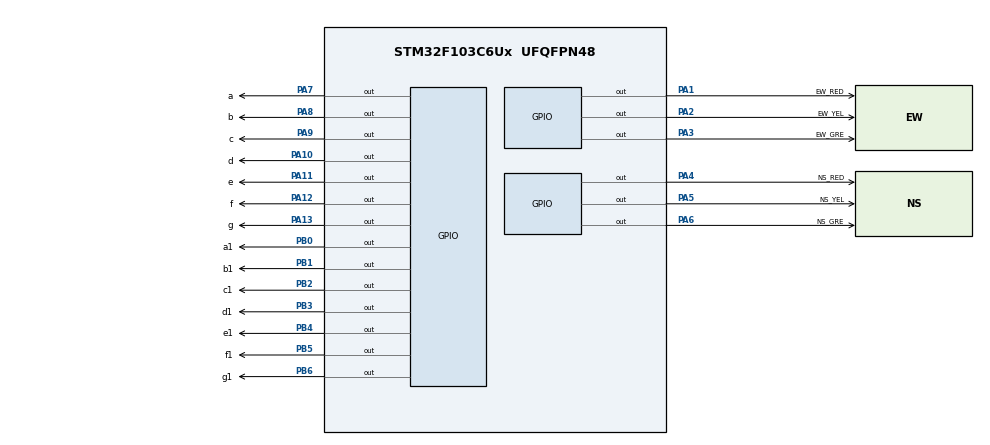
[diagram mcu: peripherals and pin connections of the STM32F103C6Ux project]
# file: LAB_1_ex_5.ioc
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Mcu.Family=STM32F1
Mcu.Name=STM32F103C6Ux
Mcu.Package=UFQFPN48
NVIC.PriorityGroup=NVIC_PRIORITYGROUP_4
PA1.GPIO_Label=EW_RED
PA1.Signal=GPIO_Output
PA10.GPIO_Label=d
PA10.Signal=GPIO_Output
PA11.GPIO_Label=e
PA11.Signal=GPIO_Output
PA12.GPIO_Label=f
PA12.Signal=GPIO_Output
PA13.GPIO_Label=g
PA13.Signal=GPIO_Output
PA2.GPIO_Label=EW_YEL
PA2.Signal=GPIO_Output
PA3.GPIO_Label=EW_GRE
PA3.Signal=GPIO_Output
PA4.GPIO_Label=NS_RED
PA4.Signal=GPIO_Output
PA5.GPIO_Label=NS_YEL
PA5.Signal=GPIO_Output
PA6.GPIO_Label=NS_GRE
PA6.Signal=GPIO_Output
PA7.GPIO_Label=a
PA7.Signal=GPIO_Output
PA8.GPIO_Label=b
PA8.Signal=GPIO_Output
PA9.GPIO_Label=c
PA9.Signal=GPIO_Output
PB0.GPIO_Label=a1
PB0.Signal=GPIO_Output
PB1.GPIO_Label=b1
PB1.Signal=GPIO_Output
PB2.GPIO_Label=c1
PB2.Signal=GPIO_Output
PB3.GPIO_Label=d1
PB3.Signal=GPIO_Output
PB4.GPIO_Label=e1
PB4.Signal=GPIO_Output
PB5.GPIO_Label=f1
PB5.Signal=GPIO_Output
PB6.GPIO_Label=g1
PB6.Signal=GPIO_Output
ProjectManager.HeapSize=0x200
ProjectManager.StackSize=0x400
ProjectManager.TargetToolchain=STM32CubeIDE
RCC.APB1Freq_Value=8000000
RCC.APB2Freq_Value=8000000
VP_SYS_VS_ND.Mode=No_Debug
board=custom

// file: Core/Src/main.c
/* USER CODE BEGIN Header */
/**
  ******************************************************************************
  * @file           : main.c
  * @brief          : Main program body
  ******************************************************************************
  * @attention
  *
  * <h2><center>&copy; Copyright (c) 2026 STMicroelectronics.
  * All rights reserved.</center></h2>
  *
  * This software component is licensed by ST under BSD 3-Clause license,
  * the "License"; You may not use this file except in compliance with the
  * License. You may obtain a copy of the License at:
  *                        opensource.org/licenses/BSD-3-Clause
  *
  ******************************************************************************
  */
/* USER CODE END Header */
#include "main.h"

/* USER CODE BEGIN PTD */
typedef enum  {
	EW_RED_NS_GREEN, EW_RED_NS_YELLOW, EW_GREEN_NS_RED, EW_YELLOW_NS_RED
} STATE_FSM;
/* USER CODE END PTD */

/* USER CODE BEGIN PD */
#define RED_TIME_MS      5
#define YELLOW_TIME_MS   2
#define GREEN_TIME_MS    3
/* USER CODE END PD */

/* USER CODE BEGIN PV */
STATE_FSM current_state;
int counter_timer;
/* USER CODE END PV */

void SystemClock_Config(void);
static void MX_GPIO_Init(void);
/* USER CODE BEGIN PFP */
void control_led(STATE_FSM state);
void display7SEG(int num);
void display7SEG_1(int num);
/* USER CODE END PFP */

int main(void)
{

  /* MCU Configuration--------------------------------------------------------*/

  /* Reset of all peripherals, Initializes the Flash interface and the Systick. */
  HAL_Init();

  /* Configure the system clock */
  SystemClock_Config();

  /* Initialize all configured peripherals */
  MX_GPIO_Init();
  /* USER CODE BEGIN 2 */
  current_state = EW_RED_NS_GREEN;
  counter_timer = GREEN_TIME_MS;

  /* USER CODE END 2 */

  /* Infinite loop */
  /* USER CODE BEGIN WHILE */
  while (1)
  {
	  switch (current_state) {
	      case EW_RED_NS_GREEN:
	    	  display7SEG ( counter_timer);
	    	  display7SEG_1 ( RED_TIME_MS - (GREEN_TIME_MS - counter_timer));
	          counter_timer--;

	          control_led(current_state);
	          if (counter_timer == 0) {
	        	  counter_timer = YELLOW_TIME_MS;
	        	  current_state = EW_RED_NS_YELLOW;
	          }
	          break;
	      case EW_RED_NS_YELLOW:
	    	  display7SEG ( counter_timer);
	    	  display7SEG_1 (RED_TIME_MS - (YELLOW_TIME_MS + GREEN_TIME_MS - counter_timer) );
	    	  	  	  counter_timer--;

	    	  	          control_led(current_state);
	    	  	          if (counter_timer == 0) {
	    	  	        	  counter_timer = GREEN_TIME_MS;
	    	  	        	  current_state = EW_GREEN_NS_RED;
	    	  	          }
	          break;
	      case EW_GREEN_NS_RED:
	    	  display7SEG ( RED_TIME_MS - (GREEN_TIME_MS - counter_timer));
	    	  display7SEG_1 ( counter_timer);
	      	          counter_timer--;

	      	          control_led(current_state);
	      	          if (counter_timer == 0) {
	      	        	  counter_timer = YELLOW_TIME_MS;
	      	        	  current_state = EW_YELLOW_NS_RED;
	      	          }
	      	    break;
	      case EW_YELLOW_NS_RED:
	    	  display7SEG_1 ( counter_timer);
	    	  display7SEG (RED_TIME_MS - (YELLOW_TIME_MS + GREEN_TIME_MS - counter_timer) );
	      	          counter_timer--;

	      	          control_led(current_state);
	      	          if (counter_timer == 0) {
	      	        	  counter_timer = GREEN_TIME_MS;
	      	        	  current_state = EW_RED_NS_GREEN;
	      	          }
	      	     break;
	      default:
	    	  display7SEG (counter_timer);
	    	  	    	  display7SEG_1 ( RED_TIME_MS - (GREEN_TIME_MS - counter_timer));
	    	  counter_timer--;

	    	  	          control_led(current_state);

	    	  	          if (counter_timer == 0) {
	    	  	        	  counter_timer = YELLOW_TIME_MS;
	    	  	        	  current_state = EW_RED_NS_YELLOW;
	    	  	          }

	  }

	  HAL_Delay (1000);
    /* USER CODE END WHILE */

  }
}

void SystemClock_Config(void)
{
  RCC_OscInitTypeDef RCC_OscInitStruct = {0};
  RCC_ClkInitTypeDef RCC_ClkInitStruct = {0};

  /** Initializes the RCC Oscillators according to the specified parameters
  * in the RCC_OscInitTypeDef structure.
  */
  RCC_OscInitStruct.OscillatorType = RCC_OSCILLATORTYPE_HSI;
  RCC_OscInitStruct.HSIState = RCC_HSI_ON;
  RCC_OscInitStruct.HSICalibrationValue = RCC_HSICALIBRATION_DEFAULT;
  RCC_OscInitStruct.PLL.PLLState = RCC_PLL_NONE;
  if (HAL_RCC_OscConfig(&RCC_OscInitStruct) != HAL_OK)
  {
    Error_Handler();
  }
  /** Initializes the CPU, AHB and APB buses clocks
  */
  RCC_ClkInitStruct.ClockType = RCC_CLOCKTYPE_HCLK|RCC_CLOCKTYPE_SYSCLK
                              |RCC_CLOCKTYPE_PCLK1|RCC_CLOCKTYPE_PCLK2;
  RCC_ClkInitStruct.SYSCLKSource = RCC_SYSCLKSOURCE_HSI;
  RCC_ClkInitStruct.AHBCLKDivider = RCC_SYSCLK_DIV1;
  RCC_ClkInitStruct.APB1CLKDivider = RCC_HCLK_DIV1;
  RCC_ClkInitStruct.APB2CLKDivider = RCC_HCLK_DIV1;

  if (HAL_RCC_ClockConfig(&RCC_ClkInitStruct, FLASH_LATENCY_0) != HAL_OK)
  {
    Error_Handler();
  }
}

static void MX_GPIO_Init(void)
{
  GPIO_InitTypeDef GPIO_InitStruct = {0};

  /* GPIO Ports Clock Enable */
  __HAL_RCC_GPIOA_CLK_ENABLE();
  __HAL_RCC_GPIOB_CLK_ENABLE();

  /*Configure GPIO pin Output Level */
  HAL_GPIO_WritePin(GPIOA, EW_RED_Pin|EW_YEL_Pin|EW_GRE_Pin|NS_RED_Pin
                          |NS_YEL_Pin|NS_GRE_Pin|a_Pin|b_Pin
                          |c_Pin|d_Pin|e_Pin|f_Pin
                          |g_Pin, GPIO_PIN_RESET);

  /*Configure GPIO pin Output Level */
  HAL_GPIO_WritePin(GPIOB, a1_Pin|b1_Pin|c1_Pin|d1_Pin
                          |e1_Pin|f1_Pin|g1_Pin, GPIO_PIN_RESET);

  /*Configure GPIO pins : EW_RED_Pin EW_YEL_Pin EW_GRE_Pin NS_RED_Pin
                           NS_YEL_Pin NS_GRE_Pin a_Pin b_Pin
                           c_Pin d_Pin e_Pin f_Pin
                           g_Pin */
  GPIO_InitStruct.Pin = EW_RED_Pin|EW_YEL_Pin|EW_GRE_Pin|NS_RED_Pin
                          |NS_YEL_Pin|NS_GRE_Pin|a_Pin|b_Pin
                          |c_Pin|d_Pin|e_Pin|f_Pin
                          |g_Pin;
  GPIO_InitStruct.Mode = GPIO_MODE_OUTPUT_PP;
  GPIO_InitStruct.Pull = GPIO_NOPULL;
  GPIO_InitStruct.Speed = GPIO_SPEED_FREQ_LOW;
  HAL_GPIO_Init(GPIOA, &GPIO_InitStruct);

  /*Configure GPIO pins : a1_Pin b1_Pin c1_Pin d1_Pin
                           e1_Pin f1_Pin g1_Pin */
  GPIO_InitStruct.Pin = a1_Pin|b1_Pin|c1_Pin|d1_Pin
                          |e1_Pin|f1_Pin|g1_Pin;
  GPIO_InitStruct.Mode = GPIO_MODE_OUTPUT_PP;
  GPIO_InitStruct.Pull = GPIO_NOPULL;
  GPIO_InitStruct.Speed = GPIO_SPEED_FREQ_LOW;
  HAL_GPIO_Init(GPIOB, &GPIO_InitStruct);

}

/* USER CODE BEGIN 4 */
/* USER CODE BEGIN 4 */
void control_led(STATE_FSM state)
{
    switch (state)
    {
        case EW_RED_NS_GREEN:
            HAL_GPIO_WritePin(GPIOA, EW_RED_Pin, GPIO_PIN_SET);
            HAL_GPIO_WritePin(GPIOA, EW_YEL_Pin | EW_GRE_Pin, GPIO_PIN_RESET);
            HAL_GPIO_WritePin(GPIOA, NS_GRE_Pin, GPIO_PIN_SET);
            HAL_GPIO_WritePin(GPIOA, NS_RED_Pin | NS_YEL_Pin, GPIO_PIN_RESET);
            break;

        case EW_RED_NS_YELLOW:
            HAL_GPIO_WritePin(GPIOA, EW_RED_Pin, GPIO_PIN_SET);
            HAL_GPIO_WritePin(GPIOA, EW_YEL_Pin | EW_GRE_Pin, GPIO_PIN_RESET);

            HAL_GPIO_WritePin(GPIOA, NS_YEL_Pin, GPIO_PIN_SET);
            HAL_GPIO_WritePin(GPIOA, NS_RED_Pin | NS_GRE_Pin, GPIO_PIN_RESET);
            break;

        case EW_GREEN_NS_RED:
            HAL_GPIO_WritePin(GPIOA, EW_GRE_Pin, GPIO_PIN_SET);
            HAL_GPIO_WritePin(GPIOA, EW_RED_Pin | EW_YEL_Pin, GPIO_PIN_RESET);

            HAL_GPIO_WritePin(GPIOA, NS_RED_Pin, GPIO_PIN_SET);
            HAL_GPIO_WritePin(GPIOA, NS_YEL_Pin | NS_GRE_Pin, GPIO_PIN_RESET);
            break;

        case EW_YELLOW_NS_RED:
            HAL_GPIO_WritePin(GPIOA, EW_YEL_Pin, GPIO_PIN_SET);
            HAL_GPIO_WritePin(GPIOA, EW_RED_Pin | EW_GRE_Pin, GPIO_PIN_RESET);

            HAL_GPIO_WritePin(GPIOA, NS_RED_Pin, GPIO_PIN_SET);
            HAL_GPIO_WritePin(GPIOA, NS_YEL_Pin | NS_GRE_Pin, GPIO_PIN_RESET);
            break;

        default:
            break;
    }
}

/* USER CODE BEGIN 4 */
void display7SEG(int num)
{
    if (num < 0 || num > 9) return;

    // state {a, b, c, d, e, f, g}
    //  Common Anode: 0 =  RESET, 1 = SET
    static const uint8_t seg_table[10][7] = {
        //  a, b, c, d, e, f, g
        { 0, 0, 0, 0, 0, 0, 1 }, // 0
        { 1, 0, 0, 1, 1, 1, 1 }, // 1
        { 0, 0, 1, 0, 0, 1, 0 }, // 2
        { 0, 0, 0, 0, 1, 1, 0 }, // 3
        { 1, 0, 0, 1, 1, 0, 0 }, // 4
        { 0, 1, 0, 0, 1, 0, 0 }, // 5
        { 0, 1, 0, 0, 0, 0, 0 }, // 6
        { 0, 0, 0, 1, 1, 1, 1 }, // 7
        { 0, 0, 0, 0, 0, 0, 0 }, // 8
        { 0, 0, 0, 0, 1, 0, 0 }  // 9
    };

    HAL_GPIO_WritePin(GPIOA, a_Pin, seg_table[num][0] ? GPIO_PIN_SET : GPIO_PIN_RESET);
    HAL_GPIO_WritePin(GPIOA, b_Pin, seg_table[num][1] ? GPIO_PIN_SET : GPIO_PIN_RESET);
    HAL_GPIO_WritePin(GPIOA, c_Pin, seg_table[num][2] ? GPIO_PIN_SET : GPIO_PIN_RESET);
    HAL_GPIO_WritePin(GPIOA, d_Pin, seg_table[num][3] ? GPIO_PIN_SET : GPIO_PIN_RESET);
    HAL_GPIO_WritePin(GPIOA, e_Pin, seg_table[num][4] ? GPIO_PIN_SET : GPIO_PIN_RESET);
    HAL_GPIO_WritePin(GPIOA, f_Pin, seg_table[num][5] ? GPIO_PIN_SET : GPIO_PIN_RESET);
    HAL_GPIO_WritePin(GPIOA, g_Pin, seg_table[num][6] ? GPIO_PIN_SET : GPIO_PIN_RESET);
}

/* USER CODE BEGIN 4 */
void display7SEG_1(int num)
{
    if (num < 0 || num > 9) return;

    static const uint8_t seg_table[10][7] = {
        // a1, b1, c1, d1, e1, f1, g1
        {  0,  0,  0,  0,  0,  0,  1 }, // 0
        {  1,  0,  0,  1,  1,  1,  1 }, // 1
        {  0,  0,  1,  0,  0,  1,  0 }, // 2
        {  0,  0,  0,  0,  1,  1,  0 }, // 3
        {  1,  0,  0,  1,  1,  0,  0 }, // 4
        {  0,  1,  0,  0,  1,  0,  0 }, // 5
        {  0,  1,  0,  0,  0,  0,  0 }, // 6
        {  0,  0,  0,  1,  1,  1,  1 }, // 7
        {  0,  0,  0,  0,  0,  0,  0 }, // 8
        {  0,  0,  0,  0,  1,  0,  0 }  // 9
    };

    HAL_GPIO_WritePin(GPIOB, a1_Pin, seg_table[num][0] ? GPIO_PIN_SET : GPIO_PIN_RESET);
    HAL_GPIO_WritePin(GPIOB, b1_Pin, seg_table[num][1] ? GPIO_PIN_SET : GPIO_PIN_RESET);
    HAL_GPIO_WritePin(GPIOB, c1_Pin, seg_table[num][2] ? GPIO_PIN_SET : GPIO_PIN_RESET);
    HAL_GPIO_WritePin(GPIOB, d1_Pin, seg_table[num][3] ? GPIO_PIN_SET : GPIO_PIN_RESET);
    HAL_GPIO_WritePin(GPIOB, e1_Pin, seg_table[num][4] ? GPIO_PIN_SET : GPIO_PIN_RESET);
    HAL_GPIO_WritePin(GPIOB, f1_Pin, seg_table[num][5] ? GPIO_PIN_SET : GPIO_PIN_RESET);
    HAL_GPIO_WritePin(GPIOB, g1_Pin, seg_table[num][6] ? GPIO_PIN_SET : GPIO_PIN_RESET);
}
/* USER CODE END 4 */
/* USER CODE END 4 */

void Error_Handler(void)
{
  __disable_irq();
  while (1)
  {
  }
}

/************************ (C) COPYRIGHT STMicroelectronics *****END OF FILE****/
